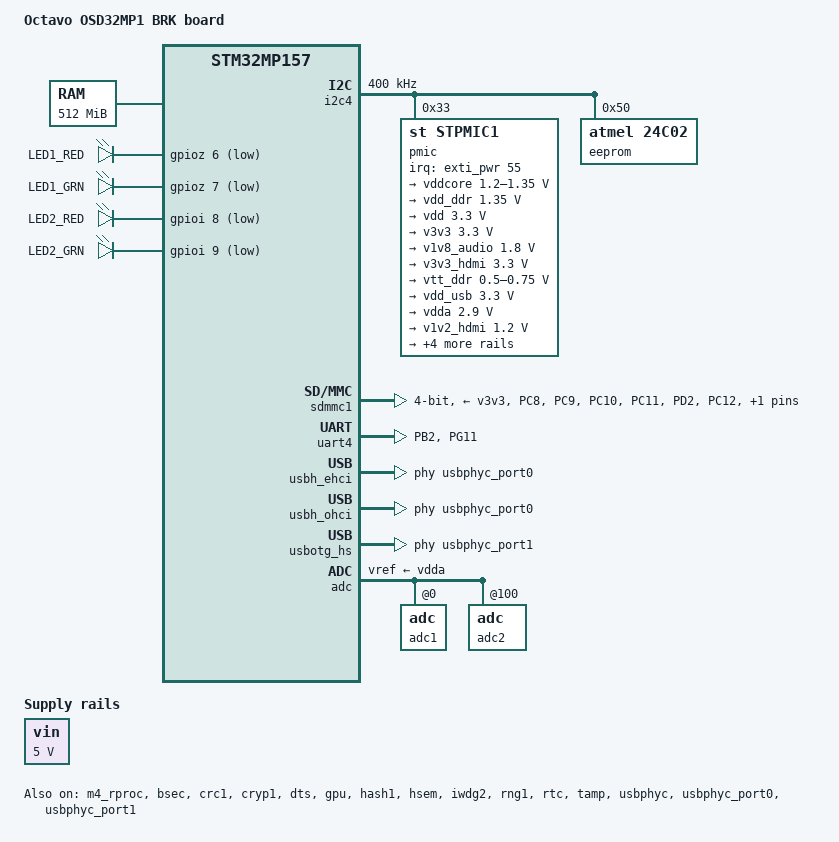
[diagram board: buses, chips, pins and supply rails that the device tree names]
/* SPDX-License-Identifier: (GPL-2.0+ OR BSD-3-Clause) */
/*
 * Copyright (C) Octavo Systems LLC 2020 - All Rights Reserved
 */

/* For more information on Device Tree configuration, please refer to
 * https://wiki.st.com/stm32mpu/wiki/Category:Device_tree_configuration
 */

/dts-v1/;
#include <dt-bindings/pinctrl/stm32-pinfunc.h>

#include "stm32mp157.dtsi"
#include "stm32mp15xc.dtsi"
#include "stm32mp15xxac-pinctrl.dtsi"
#include "stm32mp15-m4-srm.dtsi"
#include "stm32mp15-osd32mp1-ddr3-1x4Gb.dtsi"
#include <dt-bindings/mfd/st,stpmic1.h>
#include <dt-bindings/rtc/rtc-stm32.h>

/ {
	model = "Octavo OSD32MP1 BRK board";
	compatible = "st,stm32mp157c-osd32mp157c-512m-baa", "st,stm32mp157";

	memory@c0000000 {
		device_type = "memory";
		reg = <0xc0000000 0x20000000>;
	};

	reserved-memory {
		#address-cells = <1>;
		#size-cells = <1>;
		ranges;

		mcuram2:mcuram2@10000000{
			compatible = "shared-dma-pool";
			reg = <0x10000000 0x40000>;
			no-map;
		};

		vdev0vring0:vdev0vring0@10040000{
			compatible = "shared-dma-pool";
			reg = <0x10040000 0x1000>;
			no-map;
		};

		vdev0vring1:vdev0vring1@10041000{
			compatible = "shared-dma-pool";
			reg = <0x10041000 0x1000>;
			no-map;
		};

		vdev0buffer:vdev0buffer@10042000{
			compatible = "shared-dma-pool";
			reg = <0x10042000 0x4000>;
			no-map;
		};

		mcuram:mcuram@30000000{
			compatible = "shared-dma-pool";
			reg = <0x30000000 0x40000>;
			no-map;
		};

		retram:retram@38000000{
			compatible = "shared-dma-pool";
			reg = <0x38000000 0x10000>;
			no-map;
		};

		gpu_reserved:gpu@da000000{
			reg = <0xda000000 0x4000000>;
			no-map;
		};

		optee_memory:optee@0xde000000{
			reg = <0xde000000 0x02000000>;
			no-map;
			status = "okay";
		};
	};

	led{
		compatible = "gpio-leds";

		red1{
			label = "LED1_RED";
			gpios = <&gpioz 6 GPIO_ACTIVE_LOW>;
			linux,default-trigger = "heartbeat";
			status = "okay";
			default-state = "off";
		};

		green1{
			label = "LED1_GRN";
			gpios = <&gpioz 7 GPIO_ACTIVE_LOW>;
			status = "okay";
			default-state = "on";
		};

		red2{
			label = "LED2_RED";
			gpios = <&gpioi 8 GPIO_ACTIVE_LOW>;
			status = "okay";
			default-state = "off";
		};

		green2{
			label = "LED2_GRN";
			gpios = <&gpioi 9 GPIO_ACTIVE_LOW>;
			default-state = "off";
		};
	};

	usb_phy_tuning:usb-phy-tuning{
		st,hs-dc-level = <2>;
		st,fs-rftime-tuning;
		st,hs-rftime-reduction;
		st,hs-current-trim = <15>;
		st,hs-impedance-trim = <1>;
		st,squelch-level = <3>;
		st,hs-rx-offset = <2>;
		st,no-lsfs-sc;
	};

	vin:vin{
		compatible = "regulator-fixed";
		regulator-name = "vin";
		regulator-min-microvolt = <5000000>;
		regulator-max-microvolt = <5000000>;
		regulator-always-on;
	};

	aliases{
		serial0 = &uart4;
    serial2 = &usart2;
    serial5 = &uart5;
    serial7 = &uart7;
    serial1 = &uart8;
	};

	chosen{
		stdout-path = "serial0:115200n8";
	};

	clocks {

#ifndef CONFIG_STM32MP1_TRUSTED
		clk_lsi: clk-lsi {
			clock-frequency = <32000>;
		};
		clk_hsi: clk-hsi {
			clock-frequency = <64000000>;
		};
		clk_csi: clk-csi {
			clock-frequency = <4000000>;
		};
		clk_lse: clk-lse {
			clock-frequency = <32768>;
		};
		clk_hse: clk-hse {
			clock-frequency = <24000000>;
		};
#endif	/*CONFIG_STM32MP1_TRUSTED*/
	};

}; /*root*/

&pinctrl {
	u-boot,dm-pre-reloc;

	sdmmc1_pins_mx: sdmmc1_mx-0 {
		u-boot,dm-pre-reloc;
		pins1 {
			u-boot,dm-pre-reloc;
			pinmux = <STM32_PINMUX('C', 8, AF12)>, /* SDMMC1_D0 */
					 <STM32_PINMUX('C', 9, AF12)>, /* SDMMC1_D1 */
					 <STM32_PINMUX('C', 10, AF12)>, /* SDMMC1_D2 */
					 <STM32_PINMUX('C', 11, AF12)>, /* SDMMC1_D3 */
					 <STM32_PINMUX('D', 2, AF12)>; /* SDMMC1_CMD */
			bias-disable;
			drive-push-pull;
			slew-rate = <1>;
		};
		pins2 {
			u-boot,dm-pre-reloc;
			pinmux = <STM32_PINMUX('C', 12, AF12)>; /* SDMMC1_CK */
			bias-disable;
			drive-push-pull;
			slew-rate = <2>;
		};
	};

	sdmmc1_opendrain_pins_mx: sdmmc1_opendrain_mx-0 {
		u-boot,dm-pre-reloc;
		pins1 {
			u-boot,dm-pre-reloc;
			pinmux = <STM32_PINMUX('C', 8, AF12)>, /* SDMMC1_D0 */
					 <STM32_PINMUX('C', 9, AF12)>, /* SDMMC1_D1 */
					 <STM32_PINMUX('C', 10, AF12)>, /* SDMMC1_D2 */
					 <STM32_PINMUX('C', 11, AF12)>; /* SDMMC1_D3 */
			bias-disable;
			drive-push-pull;
			slew-rate = <1>;
		};
		pins2 {
			u-boot,dm-pre-reloc;
			pinmux = <STM32_PINMUX('C', 12, AF12)>; /* SDMMC1_CK */
			bias-disable;
			drive-push-pull;
			slew-rate = <2>;
		};
		pins3 {
			u-boot,dm-pre-reloc;
			pinmux = <STM32_PINMUX('D', 2, AF12)>; /* SDMMC1_CMD */
			bias-disable;
			drive-open-drain;
			slew-rate = <1>;
		};
	};

	sdmmc1_sleep_pins_mx: sdmmc1_sleep_mx-0 {
		u-boot,dm-pre-reloc;
		pins {
			u-boot,dm-pre-reloc;
			pinmux = <STM32_PINMUX('C', 8, ANALOG)>, /* SDMMC1_D0 */
					 <STM32_PINMUX('C', 9, ANALOG)>, /* SDMMC1_D1 */
					 <STM32_PINMUX('C', 10, ANALOG)>, /* SDMMC1_D2 */
					 <STM32_PINMUX('C', 11, ANALOG)>, /* SDMMC1_D3 */
					 <STM32_PINMUX('C', 12, ANALOG)>, /* SDMMC1_CK */
					 <STM32_PINMUX('D', 2, ANALOG)>; /* SDMMC1_CMD */
		};
	};

	uart4_pins_mx: uart4_mx-0 {
		u-boot,dm-pre-reloc;
		pins1 {
			u-boot,dm-pre-reloc;
			pinmux = <STM32_PINMUX('B', 2, AF8)>; /* UART4_RX */
      /* pull-up on rx to avoid floating level */
      bias-pull-up;
		};
		pins2 {
			u-boot,dm-pre-reloc;
			pinmux = <STM32_PINMUX('G', 11, AF6)>; /* UART4_TX */
			bias-disable;
			drive-push-pull;
			slew-rate = <0>;
		};
	};

	uart4_sleep_pins_mx: uart4_sleep_mx-0 {
		u-boot,dm-pre-reloc;
		pins {
			u-boot,dm-pre-reloc;
			pinmux = <STM32_PINMUX('B', 2, ANALOG)>, /* UART4_RX */
					 <STM32_PINMUX('G', 11, ANALOG)>; /* UART4_TX */
		};
	};
};

&pinctrl_z {
	u-boot,dm-pre-reloc;

	i2c4_pins_z_mx: i2c4_mx-0 {
		u-boot,dm-pre-reloc;
		pins {
			u-boot,dm-pre-reloc;
			pinmux = <STM32_PINMUX('Z', 4, AF6)>, /* I2C4_SCL */
					 <STM32_PINMUX('Z', 5, AF6)>; /* I2C4_SDA */
			bias-disable;
			drive-open-drain;
			slew-rate = <0>;
		};
	};

	i2c4_sleep_pins_z_mx: i2c4_sleep_mx-0 {
		u-boot,dm-pre-reloc;
		pins {
			u-boot,dm-pre-reloc;
			pinmux = <STM32_PINMUX('Z', 4, ANALOG)>, /* I2C4_SCL */
					 <STM32_PINMUX('Z', 5, ANALOG)>; /* I2C4_SDA */
		};
	};

  spi6_pins_mx: spi6-0 {
    pins1 {
      pinmux = <STM32_PINMUX('Z', 0, AF8)>, /* SPI6_SCK */
         <STM32_PINMUX('Z', 2, AF8)>; /* SPI6_MOSI */
      bias-disable;
      drive-push-pull;
      slew-rate = <1>;
    };

    pins2 {
      pinmux = <STM32_PINMUX('Z', 1, AF8)>; /* SPI6_MISO */
      bias-disable;
    };
  };

  spi6_sleep_pins_mx: spi6-sleep-0 {
    pins {
      pinmux = <STM32_PINMUX('Z', 0, ANALOG)>, /* SPI6_SCK */
         <STM32_PINMUX('Z', 1, ANALOG)>, /* SPI6_MISO */
         <STM32_PINMUX('Z', 2, ANALOG)>; /* SPI6_MOSI */
    };
  };
};

&m4_rproc{
	/*Restriction: "memory-region" property is not managed - please to use User-Section if needed*/
	mboxes = <&ipcc 0>, <&ipcc 1>, <&ipcc 2>;
	mbox-names = "vq0", "vq1", "shutdown";
	status = "okay";
	memory-region = <&retram>, <&mcuram>, <&mcuram2>, <&vdev0vring0>,
			<&vdev0vring1>, <&vdev0buffer>;
	interrupt-parent = <&exti>;
	interrupts = <68 1>;
	wakeup-source;
};

&pwr_regulators {
	vdd-supply = <&vdd>;
	vdd_3v3_usbfs-supply = <&vdd_usb>;
};

&bsec{
	status = "okay";
};

&crc1{
	status = "okay";
};

&cryp1{
	u-boot,dm-pre-reloc;
	status = "okay";
};

&dma1{
	status = "okay";
	sram = <&dma_pool>;
};

&dma2{
	status = "okay";
	sram = <&dma_pool>;
};

&dmamux1{

	dma-masters = <&dma1 &dma2>;
	dma-channels = <16>;

	status = "okay";
};

&dts{
	status = "okay";
};

&gpu{
	status = "okay";
	contiguous-area = <&gpu_reserved>;
};

&hash1{
	u-boot,dm-pre-reloc;
	status = "okay";
};

&hsem{
	status = "okay";
};

&i2c4{
	u-boot,dm-pre-reloc;
	pinctrl-names = "default", "sleep";
	pinctrl-0 = <&i2c4_pins_z_mx>;
	pinctrl-1 = <&i2c4_sleep_pins_z_mx>;
	status = "okay";

	i2c-scl-rising-time-ns = <185>;
	i2c-scl-falling-time-ns = <20>;
	clock-frequency = <400000>;
	/delete-property/ dmas;
	/delete-property/ dma-names;

	pmic:stpmic@33{
		compatible = "st,stpmic1";
		reg = <0x33>;
		interrupts-extended = <&exti_pwr 55 IRQ_TYPE_EDGE_FALLING>;
		interrupt-controller;
		#interrupt-cells = <2>;
		status = "okay";

		regulators{
			compatible = "st,stpmic1-regulators";
			buck1-supply = <&vin>;
			buck2-supply = <&vin>;
			buck3-supply = <&vin>;
			buck4-supply = <&vin>;
			ldo1-supply = <&v3v3>;
			ldo2-supply = <&vin>;
			ldo3-supply = <&vdd_ddr>;
			ldo4-supply = <&vin>;
			ldo5-supply = <&vin>;
			ldo6-supply = <&v3v3>;
			vref_ddr-supply = <&vin>;
			boost-supply = <&vin>;
			pwr_sw1-supply = <&bst_out>;
			pwr_sw2-supply = <&bst_out>;

			vddcore:buck1{
				regulator-name = "vddcore";
				regulator-min-microvolt = <1200000>;
				regulator-max-microvolt = <1350000>;
				regulator-always-on;
				regulator-initial-mode = <0>;
				regulator-over-current-protection;
			};

			vdd_ddr:buck2{
				regulator-name = "vdd_ddr";
				regulator-min-microvolt = <1350000>;
				regulator-max-microvolt = <1350000>;
				regulator-always-on;
				regulator-initial-mode = <0>;
				regulator-over-current-protection;
			};

			vdd:buck3{
				regulator-name = "vdd";
				regulator-min-microvolt = <3300000>;
				regulator-max-microvolt = <3300000>;
				regulator-always-on;
				st,mask-reset;
				regulator-initial-mode = <0>;
				regulator-over-current-protection;
			};

			v3v3:buck4{
				regulator-name = "v3v3";
				regulator-min-microvolt = <3300000>;
				regulator-max-microvolt = <3300000>;
				regulator-always-on;
				regulator-over-current-protection;
				regulator-initial-mode = <0>;
			};

			v1v8_audio:ldo1{
				regulator-name = "v1v8_audio";
				regulator-min-microvolt = <1800000>;
				regulator-max-microvolt = <1800000>;
				regulator-always-on;
				interrupts = <IT_CURLIM_LDO1 0>;
			};

			v3v3_hdmi:ldo2{
				regulator-name = "v3v3_hdmi";
				regulator-min-microvolt = <3300000>;
				regulator-max-microvolt = <3300000>;
				regulator-always-on;
				interrupts = <IT_CURLIM_LDO2 0>;
			};

			vtt_ddr:ldo3{
				regulator-name = "vtt_ddr";
				regulator-min-microvolt = <500000>;
				regulator-max-microvolt = <750000>;
				regulator-always-on;
				regulator-over-current-protection;
			};

			vdd_usb:ldo4{
				regulator-name = "vdd_usb";
				regulator-min-microvolt = <3300000>;
				regulator-max-microvolt = <3300000>;
				interrupts = <IT_CURLIM_LDO4 0>;
				regulator-always-on;
			};

			vdda:ldo5{
				regulator-name = "vdda";
				regulator-min-microvolt = <2900000>;
				regulator-max-microvolt = <2900000>;
				interrupts = <IT_CURLIM_LDO5 0>;
				regulator-boot-on;
			};

			v1v2_hdmi:ldo6{
				regulator-name = "v1v2_hdmi";
				regulator-min-microvolt = <1200000>;
				regulator-max-microvolt = <1200000>;
				regulator-always-on;
				interrupts = <IT_CURLIM_LDO6 0>;
			};

			vref_ddr:vref_ddr{
				regulator-name = "vref_ddr";
				regulator-always-on;
				regulator-over-current-protection;
			};

			bst_out:boost{
				regulator-name = "bst_out";
				interrupts = <IT_OCP_BOOST 0>;
			};

			vbus_otg:pwr_sw1{
				regulator-name = "vbus_otg";
				interrupts = <IT_OCP_OTG 0>;
			};

			vbus_sw:pwr_sw2{
				regulator-name = "vbus_sw";
				interrupts = <IT_OCP_SWOUT 0>;
				regulator-active-discharge = <1>;
			};
		};

		onkey{
			compatible = "st,stpmic1-onkey";
			interrupts = <IT_PONKEY_F 0>, <IT_PONKEY_R 0>;
			interrupt-names = "onkey-falling", "onkey-rising";
			power-off-time-sec = <10>;
			status = "okay";
		};

		watchdog {
			compatible = "st,stpmic1-wdt";
			status = "disabled";
		};
	};
	eeprom@50 {
		compatible = "atmel,24c02";
		reg = <0x50>;
		pagesize = <16>;
	};
};

&ipcc{
	status = "okay";
};

&iwdg2{
	status = "okay";
	timeout-sec = <32>;
};

&mdma1{
	status = "okay";
};

&rcc{
	u-boot,dm-pre-reloc;
	status = "okay";
};

&rng1{
	status = "okay";
};

&rtc{
	status = "okay";
};

&sdmmc1{
	u-boot,dm-pre-reloc;
	pinctrl-names = "default", "opendrain", "sleep";
	pinctrl-0 = <&sdmmc1_pins_mx>;
	pinctrl-1 = <&sdmmc1_opendrain_pins_mx>;
	pinctrl-2 = <&sdmmc1_sleep_pins_mx>;
	status = "okay";

	cd-gpios = <&gpiog 7 (GPIO_ACTIVE_LOW | GPIO_PULL_UP)>;
	disable-wp;
	st,neg-edge;
	bus-width = <4>;
	vmmc-supply = <&v3v3>;
};

&tamp{
	status = "okay";
};

&uart4{
	u-boot,dm-pre-reloc;
	pinctrl-names = "default", "sleep";
	pinctrl-0 = <&uart4_pins_mx>;
	pinctrl-1 = <&uart4_sleep_pins_mx>;
	status = "okay";

	/delete-property/ dmas;
	/delete-property/ dma-names;
};

&usbh_ehci{
	status = "okay";
	phys = <&usbphyc_port0>;
};

&usbh_ohci{
	status = "okay";
};

&usbotg_hs{
	u-boot,dm-pre-reloc;
	status = "okay";
	phys = <&usbphyc_port1 0>;
	phy-names = "usb2-phy";
};

&usbphyc{
	u-boot,dm-pre-reloc;
	status = "okay";
};

&usbphyc_port0{
	u-boot,dm-pre-reloc;
	status = "okay";
	phy-supply = <&vdd_usb>;
	st,phy-tuning = <&usb_phy_tuning>;
};

&usbphyc_port1{
	u-boot,dm-pre-reloc;
	status = "okay";
	phy-supply = <&vdd_usb>;
	st,phy-tuning = <&usb_phy_tuning>;
};

&adc {
  vdd-supply = <&vdd>;
  vdda-supply = <&vdda>;
  vref-supply = <&vdda>;
	status = "okay";
  adc1: adc@0 {
    st,min-sample-time-nsecs = <5000>;
    st,adc-channels = <0 1>;
    status = "okay";
  };

  adc2: adc@100 {
    status = "okay";
  };

  adc_temp: temp {
    status = "okay";
  };
};

&usbh_ohci{
	phys = <&usbphyc_port0>;
};

&cpu0{
	cpu-supply = <&vddcore>;
};

&cpu1{
	cpu-supply = <&vddcore>;
};

&sram{
	dma_pool:dma_pool@0{
		reg = <0x50000 0x10000>;
		pool;
	};
};
